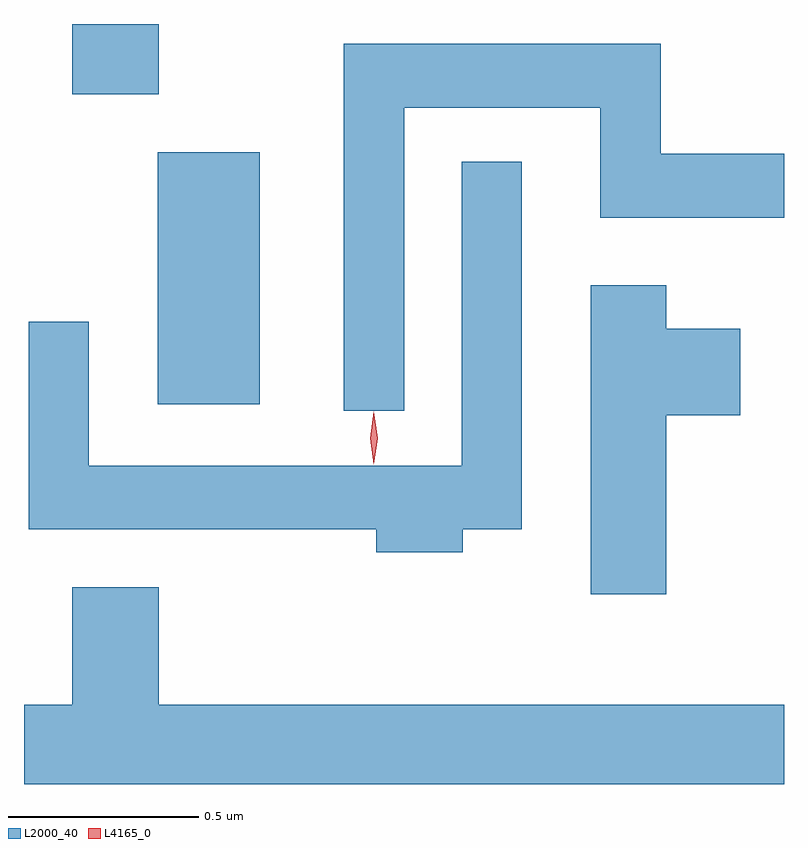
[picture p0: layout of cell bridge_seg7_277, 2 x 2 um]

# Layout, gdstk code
import gdstk
lib = gdstk.Library(unit=1e-6, precision=1e-09)
def R(c, l, rs):  # rectangles x0, y0, x1, y1
    for r in rs: c.add(gdstk.rectangle(r[:2], r[2:], *l))
def P(c, l, *ps):  # polygons
    for p in ps: c.add(gdstk.Polygon(p, *l))
L2000_40 = (2000, 40)
L4165_0 = (4165, 0)

bridge_seg7_277 = lib.new_cell('bridge_seg7_277')
R(bridge_seg7_277, L2000_40, [(1399.636,1801.956,1399.904,1802.619), (1399.411,1802.771,1399.639,1802.956)])
P(bridge_seg7_277, L2000_40, [(1400.284,1802.736),(1400.801,1802.736),(1400.801,1802.446),(1401.284,1802.446),(1401.284,1802.614),(1400.959,1802.614),(1400.959,1802.904),(1400.126,1802.904),(1400.126,1801.938),(1400.284,1801.938)],
  [(1400.439,1801.626),(1400.594,1801.626),(1400.594,1802.593),(1400.436,1802.593),(1400.436,1801.794),(1399.454,1801.794),(1399.454,1802.173),(1399.296,1802.173),(1399.296,1801.626),(1400.211,1801.626),(1400.211,1801.566),(1400.439,1801.566)],
  [(1400.974,1801.926),(1401.169,1801.926),(1401.169,1802.154),(1400.974,1802.154),(1400.974,1802.269),(1400.776,1802.269),(1400.776,1801.456),(1400.974,1801.456)],
  [(1401.284,1801.164),(1399.639,1801.164),(1399.639,1801.474),(1399.411,1801.474),(1399.411,1801.164),(1399.284,1801.164),(1399.284,1800.956),(1401.284,1800.956)])
P(bridge_seg7_277, L4165_0, [(1400.205,1801.799),(1400.204,1801.8),(1400.195,1801.866),(1400.204,1801.932),(1400.205,1801.933),(1400.205,1801.932),(1400.215,1801.866),(1400.205,1801.8)],
  [(1400.205,1801.797),(1400.204,1801.798),(1400.195,1801.866),(1400.204,1801.936),(1400.205,1801.936),(1400.205,1801.936),(1400.215,1801.866),(1400.205,1801.798)])

lib.write_gds('bridge_seg7_277.gds')
